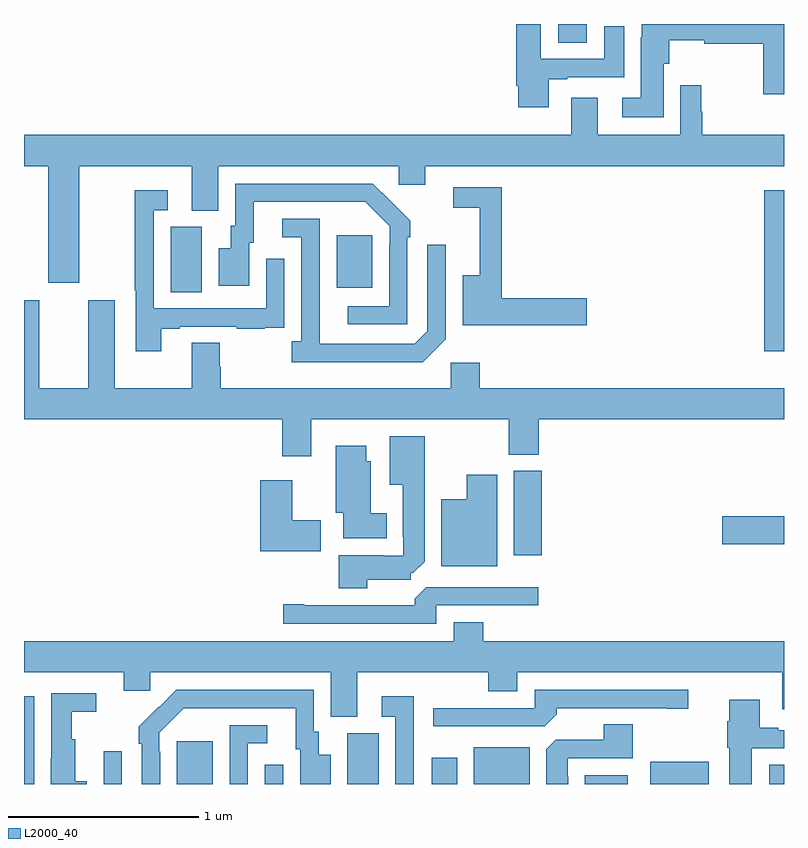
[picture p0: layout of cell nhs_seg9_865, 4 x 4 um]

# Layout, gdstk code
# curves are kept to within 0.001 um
import gdstk
lib = gdstk.Library(unit=1e-6, precision=1e-09)
def R(c, l, rs):  # rectangles x0, y0, x1, y1
    for r in rs: c.add(gdstk.rectangle(r[:2], r[2:], *l))
def P(c, l, *ps):  # polygons
    for p in ps: c.add(gdstk.Polygon(p, *l))
L2000_40 = (2000, 40)

nhs_seg9_865 = lib.new_cell('nhs_seg9_865')
R(nhs_seg9_865, L2000_40, [(157,1194.5,157.053,1194.961), (157.419,1194.5,157.515,1194.673), (157.805,1194.5,157.993,1194.724), (158.268,1194.5,158.364,1194.601), (158.702,1194.5,158.866,1194.768), (159.146,1194.5,159.28,1194.637), (159.368,1194.5,159.661,1194.694), (159.95,1194.5,160.177,1194.547), (160.296,1194.5,160.603,1194.616), (160.922,1194.5,161,1194.602), (159.578,1195.704,159.725,1196.148), (160.674,1195.763,161,1195.91), (160.897,1196.778,161,1197.625), (157.772,1197.088,157.936,1197.432), (158.645,1197.113,158.833,1197.388), (159.812,1198.402,159.961,1198.5)])
P(nhs_seg9_865, L2000_40, [(160.366,1198.29),(160.397,1198.29),(160.397,1198.414),(160.58,1198.414),(160.58,1198.396),(160.892,1198.396),(160.892,1198.131),(161,1198.131),(161,1198.5),(160.251,1198.5),(160.251,1198.43),(160.247,1198.43),(160.247,1198.111),(160.149,1198.111),(160.149,1198.01),(160.366,1198.01)],
  [(159.763,1198.209),(159.859,1198.209),(159.859,1198.221),(160.159,1198.221),(160.159,1198.489),(160.055,1198.489),(160.055,1198.317),(159.721,1198.317),(159.721,1198.5),(159.59,1198.5),(159.59,1198.174),(159.602,1198.174),(159.602,1198.062),(159.763,1198.062)],
  [(157.291,1197.752),(157.883,1197.752),(157.883,1197.517),(158.023,1197.517),(158.023,1197.752),(158.973,1197.752),(158.973,1197.654),(159.112,1197.654),(159.112,1197.752),(161,1197.752),(161,1197.916),(160.571,1197.916),(160.571,1198.038),(160.564,1198.038),(160.564,1198.177),(160.455,1198.177),(160.455,1197.916),(160.021,1197.916),(160.021,1198.111),(159.881,1198.111),(159.881,1197.916),(157,1197.916),(157,1197.752),(157.127,1197.752),(157.127,1197.138),(157.291,1197.138)],
  [(159.018,1197.377),(159.033,1197.377),(159.033,1197.465),(158.836,1197.66),(158.112,1197.66),(158.112,1197.438),(158.087,1197.438),(158.087,1197.319),(158.024,1197.319),(158.024,1197.123),(158.185,1197.123),(158.185,1197.348),(158.209,1197.348),(158.209,1197.564),(158.797,1197.564),(158.925,1197.435),(158.925,1197.335),(158.922,1197.335),(158.922,1197.015),(158.703,1197.015),(158.703,1196.919),(159.018,1196.919)],
  [(159.961,1197.056),(159.515,1197.056),(159.515,1197.642),(159.258,1197.642),(159.258,1197.534),(159.398,1197.534),(159.398,1197.178),(159.308,1197.178),(159.308,1196.914),(159.961,1196.914)],
  [(157.723,1196.895),(157.819,1196.895),(157.819,1196.907),(158.119,1196.907),(158.119,1196.895),(158.267,1196.895),(158.267,1196.901),(158.369,1196.901),(158.369,1197.01),(158.37,1197.01),(158.37,1197.265),(158.274,1197.265),(158.274,1197.003),(157.683,1197.003),(157.683,1197.519),(157.756,1197.519),(157.756,1197.625),(157.582,1197.625),(157.582,1197.1),(157.587,1197.1),(157.587,1196.778),(157.723,1196.778)],
  [(159.219,1196.841),(159.219,1197.337),(159.123,1197.337),(159.123,1196.883),(159.057,1196.817),(158.557,1196.817),(158.556,1197.474),(158.358,1197.474),(158.358,1197.378),(158.46,1197.378),(158.46,1196.83),(158.409,1196.83),(158.409,1196.72),(159.098,1196.72)],
  [(158.512,1196.42),(159.55,1196.42),(159.55,1196.233),(159.71,1196.233),(159.71,1196.42),(161,1196.42),(161,1196.584),(159.398,1196.584),(159.398,1196.716),(159.246,1196.716),(159.246,1196.584),(158.036,1196.584),(158.036,1196.697),(158.031,1196.697),(158.031,1196.822),(157.883,1196.822),(157.883,1196.584),(157.477,1196.584),(157.477,1197.046),(157.337,1197.046),(157.337,1196.584),(157.081,1196.584),(157.081,1197.046),(157,1197.046),(157,1196.42),(158.36,1196.42),(158.36,1196.226),(158.512,1196.226)],
  [(158.806,1195.575),(159.036,1195.575),(159.036,1195.611),(159.049,1195.611),(159.109,1195.671),(159.109,1196.329),(158.924,1196.329),(158.924,1196.075),(158.993,1196.075),(158.993,1195.801),(158.997,1195.801),(158.997,1195.701),(158.897,1195.701),(158.897,1195.705),(158.657,1195.705),(158.657,1195.529),(158.806,1195.529)],
  [(158.908,1195.924),(158.824,1195.924),(158.824,1196.199),(158.8,1196.199),(158.8,1196.281),(158.642,1196.281),(158.642,1195.928),(158.681,1195.928),(158.681,1195.793),(158.908,1195.793)],
  [(159.49,1196.128),(159.329,1196.128),(159.329,1195.999),(159.197,1195.999),(159.197,1195.646),(159.49,1195.646)],
  [(158.563,1195.887),(158.413,1195.887),(158.413,1196.098),(158.243,1196.098),(158.243,1195.724),(158.563,1195.724)],
  [(159.171,1195.44),(159.706,1195.44),(159.706,1195.536),(159.117,1195.536),(159.056,1195.474),(159.056,1195.44),(158.476,1195.44),(158.476,1195.445),(158.364,1195.445),(158.364,1195.344),(159.171,1195.344)],
  [(158.755,1195.088),(159.443,1195.088),(159.443,1194.989),(159.595,1194.989),(159.595,1195.088),(160.991,1195.088),(160.991,1194.894),(161,1194.894),(161,1195.252),(159.416,1195.252),(159.416,1195.351),(159.263,1195.351),(159.263,1195.252),(157,1195.252),(157,1195.088),(157.526,1195.088),(157.526,1194.99),(157.665,1194.99),(157.665,1195.088),(158.615,1195.088),(158.615,1194.853),(158.755,1194.853)],
  [(159.803,1194.866),(159.803,1194.9),(160.382,1194.9),(160.382,1194.895),(160.495,1194.895),(160.495,1194.996),(159.687,1194.996),(159.687,1194.9),(159.153,1194.9),(159.153,1194.804),(159.741,1194.804)],
  [(157.716,1194.671),(157.713,1194.671),(157.713,1194.771),(157.842,1194.9),(158.429,1194.9),(158.429,1194.684),(158.453,1194.684),(158.453,1194.5),(158.614,1194.5),(158.614,1194.655),(158.551,1194.655),(158.551,1194.774),(158.526,1194.774),(158.526,1194.996),(157.802,1194.996),(157.605,1194.801),(157.605,1194.713),(157.62,1194.713),(157.62,1194.5),(157.716,1194.5)],
  [(157.33,1194.514),(157.27,1194.514),(157.27,1194.736),(157.252,1194.736),(157.252,1194.881),(157.381,1194.881),(157.381,1194.978),(157.143,1194.978),(157.143,1194.632),(157.142,1194.632),(157.142,1194.5),(157.33,1194.5)],
  [(159.051,1194.961),(158.883,1194.961),(158.883,1194.855),(158.955,1194.855),(158.955,1194.5),(159.051,1194.5)],
  [(160.831,1194.687),(161,1194.687),(161,1194.783),(160.969,1194.783),(160.969,1194.796),(160.873,1194.796),(160.873,1194.943),(160.712,1194.943),(160.712,1194.83),(160.7,1194.83),(160.7,1194.69),(160.712,1194.69),(160.712,1194.5),(160.831,1194.5)],
  [(159.865,1194.539),(159.861,1194.539),(159.861,1194.636),(160.205,1194.636),(160.205,1194.815),(160.052,1194.815),(160.052,1194.732),(159.798,1194.732),(159.749,1194.683),(159.749,1194.5),(159.865,1194.5)],
  [(158.178,1194.714),(158.281,1194.714),(158.281,1194.81),(158.082,1194.81),(158.082,1194.5),(158.178,1194.5)])

lib.write_gds('nhs_seg9_865.gds')
